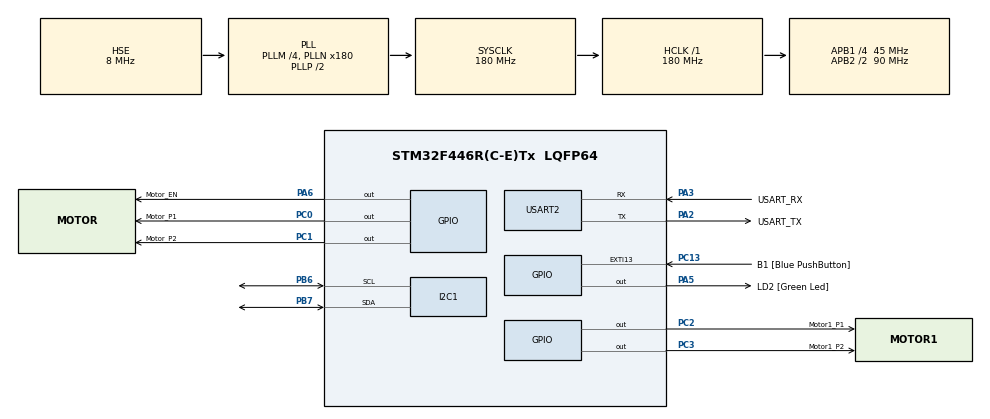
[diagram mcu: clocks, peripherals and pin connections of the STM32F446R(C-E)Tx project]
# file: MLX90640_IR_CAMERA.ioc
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I2C1.I2C_Mode=I2C_Fast
Mcu.Family=STM32F4
Mcu.Name=STM32F446R(C-E)Tx
Mcu.Package=LQFP64
NVIC.PriorityGroup=NVIC_PRIORITYGROUP_0
NVIC.USART2_IRQn=true\:0\:0\:false\:false\:true\:true\:true\:true
PA13.GPIO_Label=TMS
PA13.Mode=Serial_Wire
PA13.Signal=SYS_JTMS-SWDIO
PA14.GPIO_Label=TCK
PA14.Mode=Serial_Wire
PA14.Signal=SYS_JTCK-SWCLK
PA2.GPIO_Label=USART_TX
PA2.Mode=Asynchronous
PA2.Signal=USART2_TX
PA3.GPIO_Label=USART_RX
PA3.Mode=Asynchronous
PA3.Signal=USART2_RX
PA5.GPIO_Label=LD2 [Green Led]
PA5.Signal=GPIO_Output
PA6.GPIO_Label=Motor_EN
PA6.Signal=GPIO_Output
PB3.GPIO_Label=SWO
PB3.Signal=SYS_JTDO-SWO
PB6.Mode=I2C
PB6.Signal=I2C1_SCL
PB7.Mode=I2C
PB7.Signal=I2C1_SDA
PC0.GPIO_Label=Motor_P1
PC0.Signal=GPIO_Output
PC1.GPIO_Label=Motor_P2
PC1.Signal=GPIO_Output
PC13.GPIO_Label=B1 [Blue PushButton]
PC13.GPIO_ModeDefaultEXTI=GPIO_MODE_IT_FALLING
PC13.Signal=GPXTI13
PC14-OSC32_IN.Mode=LSE-External-Oscillator
PC14-OSC32_IN.Signal=RCC_OSC32_IN
PC15-OSC32_OUT.Mode=LSE-External-Oscillator
PC15-OSC32_OUT.Signal=RCC_OSC32_OUT
PC2.GPIO_Label=Motor1_P1
PC2.Signal=GPIO_Output
PC3.GPIO_Label=Motor1_P2
PC3.Signal=GPIO_Output
PH0-OSC_IN.Mode=HSE-External-Oscillator
PH0-OSC_IN.Signal=RCC_OSC_IN
PH1-OSC_OUT.Mode=HSE-External-Oscillator
PH1-OSC_OUT.Signal=RCC_OSC_OUT
ProjectManager.HeapSize=0x200
ProjectManager.StackSize=0x400
ProjectManager.TargetToolchain=STM32CubeIDE
RCC.48MHZClocksFreq_Value=84000000
RCC.AHBFreq_Value=180000000
RCC.APB1CLKDivider=RCC_HCLK_DIV4
RCC.APB1Freq_Value=45000000
RCC.APB1TimFreq_Value=90000000
RCC.APB2CLKDivider=RCC_HCLK_DIV2
RCC.APB2Freq_Value=90000000
RCC.APB2TimFreq_Value=180000000
RCC.CortexFreq_Value=180000000
RCC.FLatency-AdvancedSettings=FLASH_LATENCY_5
RCC.HCLKFreq_Value=180000000
RCC.HSE_VALUE=8000000
RCC.HSI_VALUE=16000000
RCC.PLLM=4
RCC.PLLN=180
RCC.PLLSourceVirtual=RCC_PLLSOURCE_HSE
RCC.SYSCLKFreq_VALUE=180000000
RCC.SYSCLKSource=RCC_SYSCLKSOURCE_PLLCLK
RCC.USBFreq_Value=180000000
RCC.VCOOutputFreq_Value=360000000
USART2.VirtualMode=VM_ASYNC
board=NUCLEO-F446RE

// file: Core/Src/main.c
/* USER CODE BEGIN Header */
/**
  ******************************************************************************
  * @file           : main.c
  * @brief          : Main program body
  ******************************************************************************
  * @attention
  *
  * Copyright (c) 2023 STMicroelectronics.
  * All rights reserved.
  *
  * This software is licensed under terms that can be found in the LICENSE file
  * in the root directory of this software component.
  * If no LICENSE file comes with this software, it is provided AS-IS.
  *
  ******************************************************************************
  */
/* USER CODE END Header */
#include "main.h"

/* USER CODE BEGIN Includes */
#include "MLX90640_API.h"
#include "string.h"
/* USER CODE END Includes */

I2C_HandleTypeDef hi2c1;

UART_HandleTypeDef huart2;

/* USER CODE BEGIN PV */
#define  FPS2HZ   0x02
#define  FPS4HZ   0x03
#define  FPS8HZ   0x04
#define  FPS16HZ  0x05
#define  FPS32HZ  0x06

#define  MLX90640_ADDR 0x33
#define	 RefreshRate FPS16HZ
#define  TA_SHIFT 8 //Default shift for MLX90640 in open air

static uint16_t eeMLX90640[832];
static float mlx90640To[768];
uint16_t frame[834];
float emissivity=0.95;
int status;
float target[24][32];
int position_x;
int position_y;
int uart_data;

/* USER CODE END PV */

void SystemClock_Config(void);
static void MX_GPIO_Init(void);
static void MX_USART2_UART_Init(void);
static void MX_I2C1_Init(void);
/* USER CODE BEGIN PFP */
void coordinates();
void reverse();
/* USER CODE END PFP */

int main(void)
{
  /* USER CODE BEGIN 1 */
 int ir=0,ic=0;
 int flag=0;
  /* USER CODE END 1 */

  /* MCU Configuration--------------------------------------------------------*/

  /* Reset of all peripherals, Initializes the Flash interface and the Systick. */
  HAL_Init();

  /* Configure the system clock */
  SystemClock_Config();

  /* Initialize all configured peripherals */
  MX_GPIO_Init();
  MX_USART2_UART_Init();
  MX_I2C1_Init();
  /* USER CODE BEGIN 2 */

  MLX90640_SetRefreshRate(MLX90640_ADDR, RefreshRate);
  	MLX90640_SetChessMode(MLX90640_ADDR);
  	paramsMLX90640 mlx90640;
    status = MLX90640_DumpEE(MLX90640_ADDR, eeMLX90640);
    if (status != 0) printf("\r\nload system parameters error with code:%d\r\n",status);
    status = MLX90640_ExtractParameters(eeMLX90640, &mlx90640);
    if (status != 0) printf("\r\nParameter extraction failed with error code:%d\r\n",status);
  /* USER CODE END 2 */

  /* Infinite loop */
  /* USER CODE BEGIN WHILE */
  while (1)
  {
	  int status = MLX90640_GetFrameData(MLX90640_ADDR, frame);
	  		if (status < 0)
	  		{
	  			//printf("GetFrame Error: %d\r\n",status);
	  		}
	  		float vdd = MLX90640_GetVdd(frame, &mlx90640);
	  		float Ta = MLX90640_GetTa(frame, &mlx90640);

	  		float tr = Ta - TA_SHIFT; //Reflected temperature based on the sensor ambient temperature
	  		//printf("vdd:  %f Tr: %f\r\n",vdd,tr);
	  		MLX90640_CalculateTo(frame, &mlx90640, emissivity , tr, mlx90640To);
	  		char buffer[]="\r\n==========================CAMERA IS INTERFACED==========================\r\n";
       HAL_UART_Transmit(&huart2, buffer, strlen(buffer), 100);
       memset(buffer,0,sizeof(buffer));
	  		printf("\r\n==========================START OF IMAGE PIXEL PRINTING==========================\r\n");
	  		HAL_UART_Transmit(&huart2, "\r\n", 2, 100);
	  		HAL_UART_Transmit(&huart2, "\r\n", 2, 100);
	  		HAL_UART_Transmit(&huart2, "\r\n", 2, 100);
		int imlx = 0;
		float data_ip;
		for (ir = 0; ir < 24; ir++) {
			for (ic = 0; ic < 32; ic++) {
				data_ip = mlx90640To[imlx++] - 31;
				if (data_ip > 10)

				{
					target[ir][ic] = data_ip;
				} else
					target[ir][ic] = 0;

			}
		}

		char d_buff[100];
		for (ir = 0; ir < 24; ir++) {
			for (ic = 0; ic < 32; ic++) {

				sprintf(d_buff, "%0.0f ", target[ir][ic]);
				HAL_UART_Transmit(&huart2, d_buff, strlen(d_buff), 100);
				memset(d_buff, 0, sizeof(d_buff));
			}
			HAL_UART_Transmit(&huart2, "\r\n", 2, 100);
		}
		HAL_UART_Transmit(&huart2, "\r\n", 2, 100);

		float max = target[0][0];
		for (ir = 0; ir < 24; ir++) {
			for (ic = 0; ic < 32; ic++) {

				if (max < target[ir][ic]) {
					max = target[ir][ic];
					position_y = ir;
					position_x = ic;
				}

			}
			HAL_UART_Transmit(&huart2, "\r\n", 2, 100);
		}
		//HAL_UART_Receive_IT(&huart2, &uart_data, 1);

		if (max != 0)
			{
				flag = 1;
			}
			if (flag == 1) {
				flag = 0;
				sprintf(d_buff, "%0.0f row=%d column=%d", max, position_y + 1,
						position_x + 1);

				HAL_UART_Transmit(&huart2, d_buff, strlen(d_buff), 100);
				coordinates();
				HAL_GPIO_WritePin(GPIOA, LD2_Pin, GPIO_PIN_SET);

				//HAL_Delay(1000);
				reverse();
				HAL_GPIO_WritePin(GPIOA, LD2_Pin, GPIO_PIN_RESET);

			}
			HAL_Delay(3000);
    /* USER CODE END WHILE */

	}
}

void SystemClock_Config(void)
{
  RCC_OscInitTypeDef RCC_OscInitStruct = {0};
  RCC_ClkInitTypeDef RCC_ClkInitStruct = {0};

  /** Configure the main internal regulator output voltage
  */
  __HAL_RCC_PWR_CLK_ENABLE();
  __HAL_PWR_VOLTAGESCALING_CONFIG(PWR_REGULATOR_VOLTAGE_SCALE1);

  /** Initializes the RCC Oscillators according to the specified parameters
  * in the RCC_OscInitTypeDef structure.
  */
  RCC_OscInitStruct.OscillatorType = RCC_OSCILLATORTYPE_HSE;
  RCC_OscInitStruct.HSEState = RCC_HSE_ON;
  RCC_OscInitStruct.PLL.PLLState = RCC_PLL_ON;
  RCC_OscInitStruct.PLL.PLLSource = RCC_PLLSOURCE_HSE;
  RCC_OscInitStruct.PLL.PLLM = 4;
  RCC_OscInitStruct.PLL.PLLN = 180;
  RCC_OscInitStruct.PLL.PLLP = RCC_PLLP_DIV2;
  RCC_OscInitStruct.PLL.PLLQ = 2;
  RCC_OscInitStruct.PLL.PLLR = 2;
  if (HAL_RCC_OscConfig(&RCC_OscInitStruct) != HAL_OK)
  {
    Error_Handler();
  }

  /** Activate the Over-Drive mode
  */
  if (HAL_PWREx_EnableOverDrive() != HAL_OK)
  {
    Error_Handler();
  }

  /** Initializes the CPU, AHB and APB buses clocks
  */
  RCC_ClkInitStruct.ClockType = RCC_CLOCKTYPE_HCLK|RCC_CLOCKTYPE_SYSCLK
                              |RCC_CLOCKTYPE_PCLK1|RCC_CLOCKTYPE_PCLK2;
  RCC_ClkInitStruct.SYSCLKSource = RCC_SYSCLKSOURCE_PLLCLK;
  RCC_ClkInitStruct.AHBCLKDivider = RCC_SYSCLK_DIV1;
  RCC_ClkInitStruct.APB1CLKDivider = RCC_HCLK_DIV4;
  RCC_ClkInitStruct.APB2CLKDivider = RCC_HCLK_DIV2;

  if (HAL_RCC_ClockConfig(&RCC_ClkInitStruct, FLASH_LATENCY_5) != HAL_OK)
  {
    Error_Handler();
  }
}

static void MX_I2C1_Init(void)
{

  hi2c1.Instance = I2C1;
  hi2c1.Init.ClockSpeed = 400000;
  hi2c1.Init.DutyCycle = I2C_DUTYCYCLE_2;
  hi2c1.Init.OwnAddress1 = 0;
  hi2c1.Init.AddressingMode = I2C_ADDRESSINGMODE_7BIT;
  hi2c1.Init.DualAddressMode = I2C_DUALADDRESS_DISABLE;
  hi2c1.Init.OwnAddress2 = 0;
  hi2c1.Init.GeneralCallMode = I2C_GENERALCALL_DISABLE;
  hi2c1.Init.NoStretchMode = I2C_NOSTRETCH_DISABLE;
  if (HAL_I2C_Init(&hi2c1) != HAL_OK)
  {
    Error_Handler();
  }

}

static void MX_USART2_UART_Init(void)
{

  huart2.Instance = USART2;
  huart2.Init.BaudRate = 115200;
  huart2.Init.WordLength = UART_WORDLENGTH_8B;
  huart2.Init.StopBits = UART_STOPBITS_1;
  huart2.Init.Parity = UART_PARITY_NONE;
  huart2.Init.Mode = UART_MODE_TX_RX;
  huart2.Init.HwFlowCtl = UART_HWCONTROL_NONE;
  huart2.Init.OverSampling = UART_OVERSAMPLING_16;
  if (HAL_UART_Init(&huart2) != HAL_OK)
  {
    Error_Handler();
  }

}

static void MX_GPIO_Init(void)
{
  GPIO_InitTypeDef GPIO_InitStruct = {0};

  /* GPIO Ports Clock Enable */
  __HAL_RCC_GPIOC_CLK_ENABLE();
  __HAL_RCC_GPIOH_CLK_ENABLE();
  __HAL_RCC_GPIOA_CLK_ENABLE();
  __HAL_RCC_GPIOB_CLK_ENABLE();

  /*Configure GPIO pin Output Level */
  HAL_GPIO_WritePin(GPIOC, Motor_P1_Pin|Motor_P2_Pin|Motor1_P1_Pin|Motor1_P2_Pin, GPIO_PIN_RESET);

  /*Configure GPIO pin Output Level */
  HAL_GPIO_WritePin(GPIOA, LD2_Pin|Motor_EN_Pin, GPIO_PIN_RESET);

  /*Configure GPIO pin : B1_Pin */
  GPIO_InitStruct.Pin = B1_Pin;
  GPIO_InitStruct.Mode = GPIO_MODE_IT_FALLING;
  GPIO_InitStruct.Pull = GPIO_NOPULL;
  HAL_GPIO_Init(B1_GPIO_Port, &GPIO_InitStruct);

  /*Configure GPIO pins : Motor_P1_Pin Motor_P2_Pin Motor1_P1_Pin Motor1_P2_Pin */
  GPIO_InitStruct.Pin = Motor_P1_Pin|Motor_P2_Pin|Motor1_P1_Pin|Motor1_P2_Pin;
  GPIO_InitStruct.Mode = GPIO_MODE_OUTPUT_PP;
  GPIO_InitStruct.Pull = GPIO_NOPULL;
  GPIO_InitStruct.Speed = GPIO_SPEED_FREQ_LOW;
  HAL_GPIO_Init(GPIOC, &GPIO_InitStruct);

  /*Configure GPIO pins : LD2_Pin Motor_EN_Pin */
  GPIO_InitStruct.Pin = LD2_Pin|Motor_EN_Pin;
  GPIO_InitStruct.Mode = GPIO_MODE_OUTPUT_PP;
  GPIO_InitStruct.Pull = GPIO_NOPULL;
  GPIO_InitStruct.Speed = GPIO_SPEED_FREQ_LOW;
  HAL_GPIO_Init(GPIOA, &GPIO_InitStruct);

}

/* USER CODE BEGIN 4 */
void coordinates()
{
	for(int i=0;i<position_y;i++)
	{
	HAL_GPIO_WritePin(GPIOC, Motor_P1_Pin, GPIO_PIN_SET);
	HAL_GPIO_WritePin(GPIOC, Motor_P2_Pin, GPIO_PIN_RESET);
	HAL_Delay(300);
	HAL_GPIO_WritePin(GPIOC, Motor_P1_Pin, GPIO_PIN_RESET);
	HAL_GPIO_WritePin(GPIOC, Motor_P2_Pin, GPIO_PIN_RESET);
	HAL_Delay(300);
	}

	for(int j=0;j<position_x;j++)
		{
		HAL_GPIO_WritePin(GPIOC, Motor1_P1_Pin, GPIO_PIN_SET);
		HAL_GPIO_WritePin(GPIOC, Motor1_P2_Pin, GPIO_PIN_RESET);
		HAL_Delay(300);
		HAL_GPIO_WritePin(GPIOC, Motor1_P1_Pin, GPIO_PIN_RESET);
		HAL_GPIO_WritePin(GPIOC, Motor1_P2_Pin, GPIO_PIN_RESET);
		HAL_Delay(300);
		}
}

void reverse()
{
	for(int i=position_y;i>0;i--)
	{
	HAL_GPIO_WritePin(GPIOC, Motor_P1_Pin, GPIO_PIN_RESET);
	HAL_GPIO_WritePin(GPIOC, Motor_P2_Pin, GPIO_PIN_SET);
	HAL_Delay(300);
	HAL_GPIO_WritePin(GPIOC, Motor_P1_Pin, GPIO_PIN_RESET);
	HAL_GPIO_WritePin(GPIOC, Motor_P2_Pin, GPIO_PIN_RESET);
	HAL_Delay(300);
	}

	for(int j=position_x;j>0;j--)
		{
		HAL_GPIO_WritePin(GPIOC, Motor1_P1_Pin, GPIO_PIN_RESET);
		HAL_GPIO_WritePin(GPIOC, Motor1_P2_Pin, GPIO_PIN_SET);
		HAL_Delay(300);
		HAL_GPIO_WritePin(GPIOC, Motor1_P1_Pin, GPIO_PIN_RESET);
		HAL_GPIO_WritePin(GPIOC, Motor1_P2_Pin, GPIO_PIN_RESET);
		HAL_Delay(300);
		}
}

/* USER CODE END 4 */

void Error_Handler(void)
{
  __disable_irq();
  while (1)
  {
  }
}
